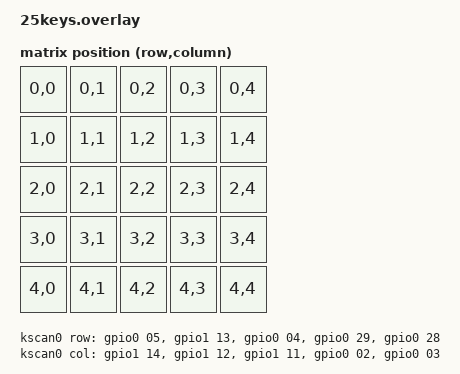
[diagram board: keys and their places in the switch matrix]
#include <dt-bindings/zmk/matrix_transform.h>

/ {
    chosen {
        zmk,kscan = &kscan0;
        zmk,matrix-transform =&default_transform;
        zmk,underglow = &led_strip;
    };

    default_transform: keymap_transform_0 {
        compatible = "zmk,matrix-transform";
        columns = <5>;                          // Colの数
        rows = <5>;                             // Rowの数
        map = <
            RC(0,0) RC(0,1) RC(0,2) RC(0,3) RC(0,4)
            RC(1,0) RC(1,1) RC(1,2) RC(1,3) RC(1,4)
            RC(2,0) RC(2,1) RC(2,2) RC(2,3) RC(2,4)
            RC(3,0) RC(3,1) RC(3,2) RC(3,3) RC(3,4)
            RC(4,0) RC(4,1) RC(4,2) RC(4,3) RC(4,4)
        >;
    };

    kscan0: kscan {
        compatible = "zmk,kscan-gpio-matrix";
        wakeup-source;

        diode-direction = "col2row"; // ダイオードの方向

        col-gpios
            = <&gpio1 14 GPIO_ACTIVE_HIGH>  // Col0 = D9
            , <&gpio1 12 GPIO_ACTIVE_HIGH>  // Col1 = D7
            , <&gpio1 11 GPIO_ACTIVE_HIGH>  // Col2 = D6
            , <&gpio0 02 GPIO_ACTIVE_HIGH>  // Col3 = D0
            , <&gpio0 03 GPIO_ACTIVE_HIGH>  // Col4 = D1
            ;

        row-gpios
            = <&gpio0 05 (GPIO_ACTIVE_HIGH | GPIO_PULL_DOWN)> // Row0 = D5
            , <&gpio1 13 (GPIO_ACTIVE_HIGH | GPIO_PULL_DOWN)> // Row1 = D8
            , <&gpio0 04 (GPIO_ACTIVE_HIGH | GPIO_PULL_DOWN)> // Row2 = D4
            , <&gpio0 29 (GPIO_ACTIVE_HIGH | GPIO_PULL_DOWN)> // Row3 = D3
            , <&gpio0 28 (GPIO_ACTIVE_HIGH | GPIO_PULL_DOWN)> // Row4 = D2
            ;
    };
};

 // LED（アンダーグロー）の設定
&pinctrl{
    spi3_default:spi3_default{
        group1{
            psels = <NRF_PSEL(SPIM_MOSI, 1, 15)>;   // D10
        };
    };

    spi3_sleep: spi3_sleep {
        group1 {
            psels = <NRF_PSEL(SPIM_MOSI, 1, 15)>;   // D10
            low-power-enable;
        };
    };
};

&spi3 {
    compatible = "nordic,nrf-spim";
    status = "okay";
    pinctrl-0 = <&spi3_default>;
    pinctrl-1 = <&spi3_sleep>;
    pinctrl-names = "default", "sleep";

    led_strip: ws2812@0 {
        compatible = "worldsemi,ws2812-spi";
        label = "SK6812minie";
        reg = <0>;
        spi-max-frequency = <4000000>;
        chain-length = <4>;                 //lEDの総数
        spi-one-frame = <0x70>;
        spi-zero-frame = <0x40>;
        color-mapping = <
            LED_COLOR_ID_GREEN
            LED_COLOR_ID_RED
            LED_COLOR_ID_BLUE
        >;
    };
};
